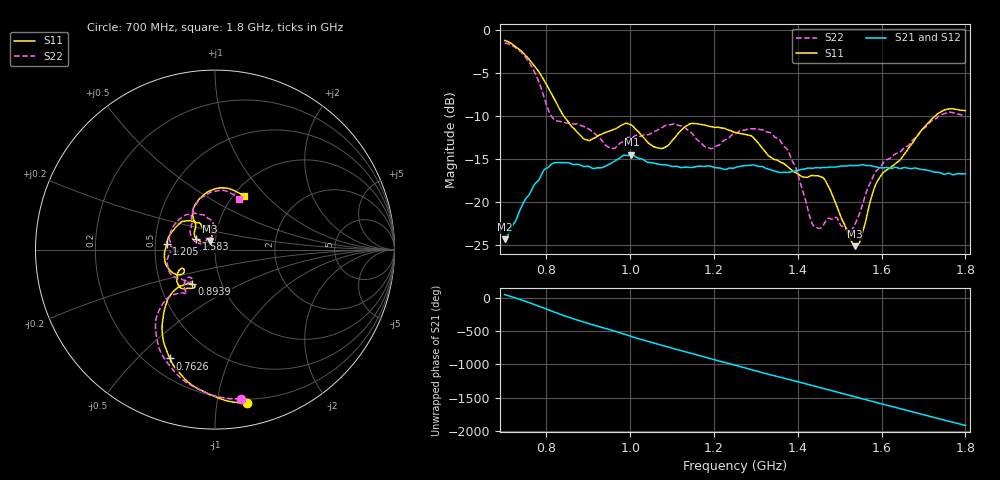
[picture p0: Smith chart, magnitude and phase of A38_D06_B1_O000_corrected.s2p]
! Created with skrf 1.9.0 (http://scikit-rf.org).
# Hz S RI R 50.0
!freq ReS11 ImS11 ReS21 ImS21 ReS12 ImS12 ReS22 ImS22
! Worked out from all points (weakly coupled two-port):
!   1601 points, 700 MHz to 1.8 GHz, reference 50 ohm
!   highest |S21| = -14.50 dB at 1.002 GHz (marker M1); lowest = -24.4 dB at 700.7 MHz (marker M2)
!   lowest |S11| = -25.2 dB at 1.536 GHz (marker M3), VSWR 1.12, Z = 47.2 + j4.6 ohm
!   |S11| at or under -10 dB: 841 MHz to 1.727 GHz (886.5 MHz wide, 69 % of centre)
!   |S22| runs from -23.5 to -1.5 dB; largest |S21 - S12| = 0.0035
!   S11 on the Smith chart (normalised r, x): 700 MHz: 0.17, -1.21; 762.6 MHz: 0.29, -0.63; 893.9 MHz: 0.72, -0.29; 1.205 GHz: 0.57, +0.04; 1.583 GHz: 0.81, +0.10; 1.8 GHz: 1.11, +0.75
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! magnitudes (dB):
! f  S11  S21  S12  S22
! 700 MHz  -1.2  -24.4  -24.1  -1.5
! 700.7 MHz  -1.2  -24.4  -24.1  -1.5
! 762.6 MHz  -3.7  -18.8  -18.8  -4.0
! 815.5 MHz  -7.7  -15.5  -15.6  -10.3
! 883.6 MHz  -12.4  -15.8  -15.7  -11.1
! 893.9 MHz  -12.7  -15.9  -15.9  -11.3
! 955.1 MHz  -11.7  -15.5  -15.5  -13.7
! 1.002 GHz  -11.0  -14.5  -14.6  -12.5
! 1.067 GHz  -13.7  -15.6  -15.6  -11.6
! 1.143 GHz  -10.9  -16.0  -16.0  -11.8
! 1.205 GHz  -11.3  -16.0  -16.1  -13.5
! 1.25 GHz  -11.9  -16.0  -16.0  -12.1
! 1.357 GHz  -15.3  -16.6  -16.5  -12.8
! 1.395 GHz  -16.6  -16.4  -16.4  -16.0
! 1.434 GHz  -16.9  -16.1  -16.0  -22.5
! 1.467 GHz  -17.6  -16.0  -16.0  -22.2
! 1.536 GHz  -25.2  -15.8  -15.8  -22.6
! 1.55 GHz  -24.3  -15.7  -15.7  -20.9
! 1.583 GHz  -18.4  -15.9  -15.9  -16.7
! 1.617 GHz  -16.1  -16.0  -16.0  -15.0
! 1.733 GHz  -9.8  -16.5  -16.6  -10.1
! 1.8 GHz  -9.4  -16.7  -16.7  -10.0
